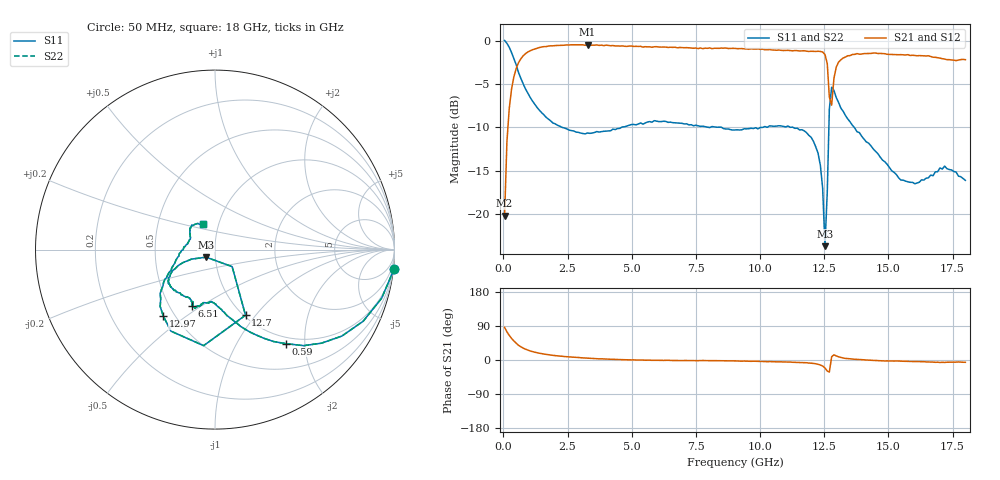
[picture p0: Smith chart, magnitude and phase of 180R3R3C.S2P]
!  American Technical Ceramics  Date:  3/13/98
!  One Norden Lane
!  Huntington Station,  NY.  11746-2102
!  Tel:  (516) 547-5700  Fax:  (516) 547-5748
!  Part Number  180r3r3c
!  Description: Porcelain, High Q, Low ESR
!  Application: Bypass, Coupling, Timing, Feedback
!  Tuning, Impedance Match, Blocking
# GHZ S DB R 50
! Freq  |S11|  S11 Ph  |S21|  S21 Ph  |S12|  S12 Ph  |S22|  S22 Ph
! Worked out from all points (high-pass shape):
!   201 points, 50 MHz to 18 GHz, reference 50 ohm
!   highest |S21| = -0.45 dB at 3.28 GHz (marker M1); lowest = -20.2 dB at 50 MHz (marker M2)
!   |S21| within 3 dB of the highest: 478.4 MHz to 12.64 GHz (12.16 GHz wide, 185 % of centre); 12.94 GHz to end of sweep
!   lowest |S11| = -23.7 dB at 12.53 GHz (marker M3), VSWR 1.14, Z = 45.1 - j3.83 ohm
!   |S11| at or under -10 dB: 2.284 GHz to 4.608 GHz (2.324 GHz wide, 67.4 % of centre); 8.501 GHz to 10.11 GHz (1.608 GHz wide, 17.3 % of centre); 13.67 GHz to end of sweep (the widest 3 of 7)
!   |S22| runs from -23.7 to 0.0 dB; largest |S21 - S12| = 0
!   S11 on the Smith chart (normalised r, x): 50 MHz: -1, -19; 590 MHz: 0.89, -1.64; 6.51 GHz: 0.65, -0.46; 12.7 GHz: 1.02, -0.89; 12.97 GHz: 0.43, -0.41; 18 GHz: 0.84, +0.24
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0.05  0.04 -6.1  -20.23 86.1  -20.23 86.1  0.04 -6.1
0.14  -0.29 -16.3  -11.68 74.2  -11.68 74.2  -0.29 -16.3
0.23  -0.75 -25.8  -7.85 65.1  -7.85 65.1  -0.75 -25.8
0.59  -3.65 -52.9  -2.54 38.8  -2.54 38.8  -3.65 -52.9
1.4  -8.01 -76.6  -0.78 17.9  -0.78 17.9  -8.01 -76.6
3.1  -10.72 -93.8  -0.46 5.7  -0.46 5.7  -10.72 -93.8
3.28  -10.65 -95.1  -0.45 4.8  -0.45 4.8  -10.65 -95.1
6.06  -9.34 -109.0  -0.72 -0.8  -0.72 -0.8  -9.34 -109.0
6.51  -9.40 -111.9  -0.74 -1.1  -0.74 -1.1  -9.40 -111.9
9.03  -10.30 -118.4  -0.88 -2.5  -0.88 -2.5  -10.30 -118.4
12.08  -11.61 -153.6  -1.22 -9.2  -1.22 -9.2  -11.61 -153.6
12.35  -14.39 -157.9  -1.23 -13.2  -1.23 -13.2  -14.39 -157.9
12.44  -17.05 -157.9  -1.30 -15.9  -1.30 -15.9  -17.05 -157.9
12.53  -23.74 -139.5  -1.58 -21.1  -1.58 -21.1  -23.74 -139.5
12.62  -17.42 -44.8  -2.65 -29.3  -2.65 -29.3  -17.42 -44.8
12.7  -7.89 -65.1  -6.52 -31.8  -6.52 -31.8  -7.89 -65.1
12.79  -5.37 -96.8  -7.44 8.7  -7.44 8.7  -5.37 -96.8
12.88  -5.74 -118.4  -4.32 13.6  -4.32 13.6  -5.74 -118.4
12.97  -6.57 -127.9  -3.04 10.7  -3.04 10.7  -6.57 -127.9
13.6  -9.77 -149.3  -1.58 2.4  -1.58 2.4  -9.77 -149.3
15.04  -14.65 -178.7  -1.57 -2.6  -1.57 -2.6  -14.65 -178.7
18  -16.13 116.1  -2.18 -6.0  -2.18 -6.0  -16.13 116.1
